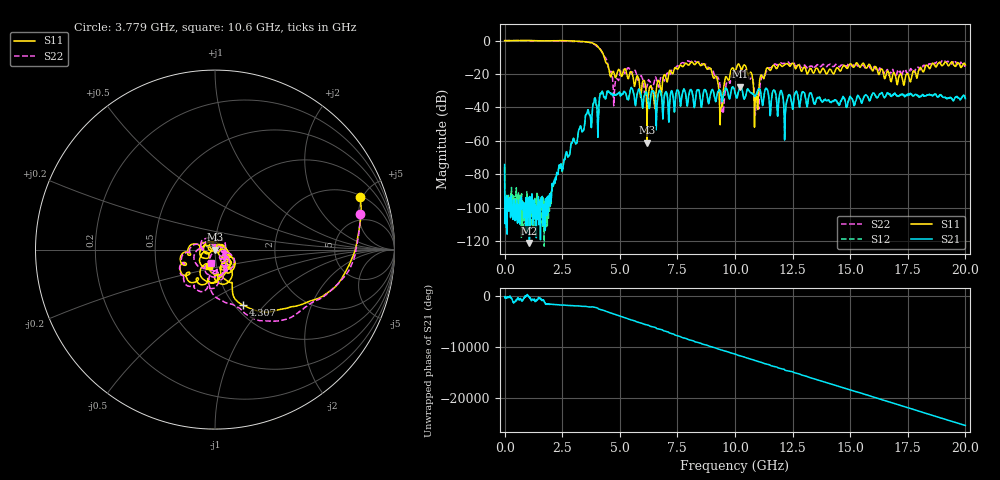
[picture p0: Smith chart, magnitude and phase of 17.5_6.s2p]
#  HZ  S  RI  R  50.00
! Rohde & Schwarz Vector Network Analyzer
! Rohde-Schwarz,ZNB20-2Port,1311601062102128,3.60
! Created: UTC 4/29/2024, 2:58:57 PM
! freq[Hz]  re:S11  im:S11  re:S21  im:S21  re:S12  im:S12  re:S22  im:S22
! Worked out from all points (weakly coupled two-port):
!   2007 points, 100 kHz to 20 GHz, reference 50 ohm
!   highest |S21| = -27.66 dB at 10.23 GHz (marker M1); lowest = -121.3 dB at 1.077 GHz (marker M2)
!   lowest |S11| = -61.1 dB at 6.182 GHz (marker M3), VSWR 1.00, Z = 50 - j0.0784 ohm
!   |S11| at or under -10 dB: 4.326 GHz to end of sweep
!   |S22| runs from -44.6 to 0.1 dB; largest |S21 - S12| = 0.0021
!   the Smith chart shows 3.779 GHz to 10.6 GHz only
!   S11 on the Smith chart (normalised r, x): 3.779 GHz: 2.08, +4.77; 4.307 GHz: 1.09, -0.76; 10.6 GHz: 0.92, -0.17
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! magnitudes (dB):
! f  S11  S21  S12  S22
! 100 kHz  0.0  -74.2  -75.7  0.1
! 1.077 GHz  0.0  -121.3  -98.3  0.0
! 2.233 GHz  0.0  -83.5  -83.0  -0.3
! 3.34 GHz  -0.6  -53.9  -53.5  -0.6
! 3.779 GHz  -1.3  -49.9  -50.2  -1.6
! 4.307 GHz  -9.2  -33.8  -34.1  -9.2
! 4.776 GHz  -20.7  -32.5  -32.4  -28.8
! 5.354 GHz  -22.8  -35.3  -35.3  -16.4
! 6.182 GHz  -61.1  -31.9  -32.0  -27.4
! 6.67 GHz  -23.8  -31.9  -32.0  -27.2
! 8.634 GHz  -13.9  -31.0  -30.9  -14.5
! 9.192 GHz  -21.6  -34.6  -34.7  -22.5
! 9.402 GHz  -40.2  -33.3  -33.3  -36.3
! 10 GHz  -18.7  -31.1  -31.1  -19.3
! 10.23 GHz  -15.8  -27.7  -27.7  -16.8
! 10.6 GHz  -20.3  -29.7  -29.7  -22.0
! 10.92 GHz  -33.6  -32.6  -32.5  -34.4
! 11.42 GHz  -16.3  -29.9  -29.9  -16.8
! 12.18 GHz  -14.2  -44.0  -44.1  -13.5
! 13.34 GHz  -18.0  -32.8  -32.8  -15.3
! 16.67 GHz  -19.1  -31.8  -31.8  -20.5
! 20 GHz  -14.6  -34.8  -34.8  -14.4
